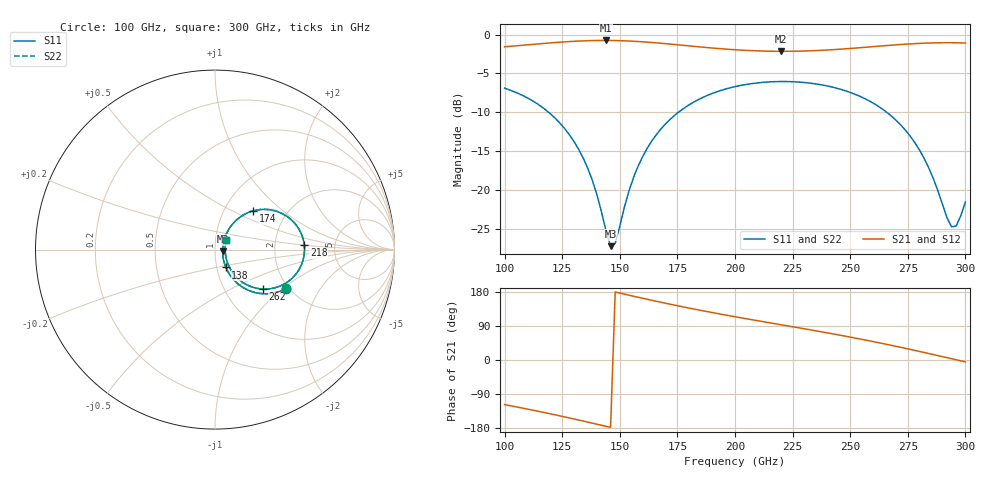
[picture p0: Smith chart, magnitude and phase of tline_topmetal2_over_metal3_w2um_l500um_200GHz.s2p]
#  GHZ S DB R 50
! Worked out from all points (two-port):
!   101 points, 100 GHz to 300 GHz, reference 50 ohm
!   highest |S21| = -0.75 dB at 144 GHz (marker M1); lowest = -2.2 dB at 220 GHz (marker M2)
!   |S21| within 3 dB of the highest: start of sweep to end of sweep
!   lowest |S11| = -27.3 dB at 146 GHz (marker M3), VSWR 1.09, Z = 54.4 - j1.08 ohm
!   |S11| at or under -10 dB: 119.1 GHz to 175.5 GHz (56.4 GHz wide, 38.3 % of centre); 265.8 GHz to end of sweep
!   |S22| runs from -27.2 to -6.0 dB; largest |S21 - S12| = 9.4e-14
!   S11 on the Smith chart (normalised r, x): 100 GHz: 1.93, -1.05; 138 GHz: 1.10, -0.22; 174 GHz: 1.36, +0.65; 218 GHz: 2.97, +0.19; 262 GHz: 1.51, -0.75; 300 GHz: 1.13, +0.12
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100  -6.90 -28.7  -1.57 -117.8  -1.57 -117.8  -6.90 -28.6
120  -10.23 -49.2  -1.07 -142.2  -1.07 -142.2  -10.23 -49.0
134  -15.84 -59.7  -0.81 -161.0  -0.81 -161.0  -15.83 -59.4
138  -18.71 -58.8  -0.77 -166.6  -0.77 -166.6  -18.70 -58.4
144  -25.28 -37.1  -0.75 -175.0  -0.75 -175.0  -25.22 -36.6
146  -27.25 -13.2  -0.76 -177.8  -0.76 -177.8  -27.15 -12.9
148  -26.91 16.6  -0.77 179.4  -0.77 179.4  -26.81 16.6
154  -20.12 53.0  -0.83 171.1  -0.83 171.1  -20.10 52.9
158  -16.91 56.0  -0.89 165.6  -0.89 165.6  -16.90 55.9
168  -12.10 50.8  -1.12 152.2  -1.12 152.2  -12.10 50.8
174  -10.35 45.4  -1.28 144.5  -1.28 144.5  -10.35 45.4
200  -6.70 19.8  -1.95 114.2  -1.95 114.2  -6.70 19.9
218  -6.05 2.7  -2.15 95.1  -2.15 95.1  -6.05 2.8
220  -6.04 0.8  -2.15 93.0  -2.15 93.0  -6.04 1.0
234  -6.31 -12.3  -2.07 78.2  -2.07 78.2  -6.31 -12.2
248  -7.24 -25.8  -1.83 62.7  -1.83 62.7  -7.24 -25.7
262  -9.19 -39.4  -1.50 46.1  -1.50 46.1  -9.19 -39.3
268  -10.52 -44.9  -1.36 38.5  -1.36 38.5  -10.52 -44.8
282  -15.89 -52.6  -1.11 20.0  -1.11 20.0  -15.90 -52.6
294  -24.76 -9.0  -1.05 3.4  -1.05 3.4  -24.88 -9.0
296  -24.65 12.0  -1.05 0.6  -1.05 0.6  -24.77 12.3
300  -21.58 40.2  -1.08 -4.9  -1.08 -4.9  -21.65 40.9
